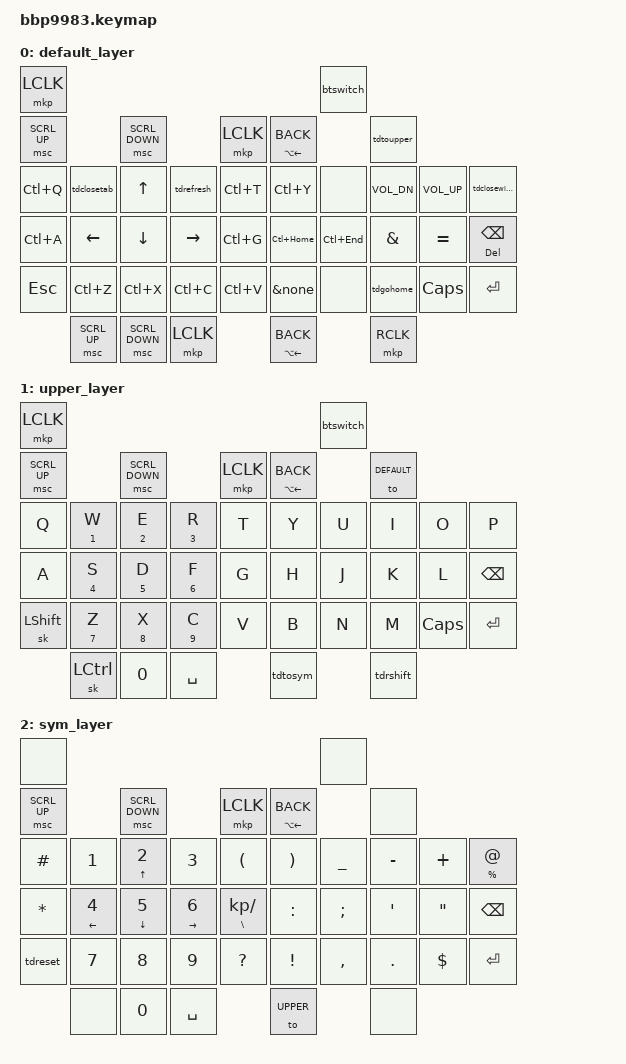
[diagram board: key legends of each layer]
  /*
 * Copyright (c) 2023 ZitaoTech
 *
 * SPDX-License-Identifier: MIT
 */

#include <behaviors.dtsi>
#include <dt-bindings/zmk/keys.h>
#include <dt-bindings/zmk/bt.h>
#include <dt-bindings/zmk/outputs.h>
#include <dt-bindings/zmk/mouse.h>
#include <dt-bindings/zmk/backlight.h>
#include <dt-bindings/zmk/ext_power.h>


#define DEFAULT 0
#define UPPER 1
#define SYM 2

&sk {
       release-after-ms = <2500>;
   };

/ {
   //单击层1字符，长按层2字符
    behaviors {
        bhm: balanced_homerow_mods {
            compatible = "zmk,behavior-hold-tap";
            #binding-cells = <2>;
            flavor = "balanced";
            tapping-term-ms = <400>;
            bindings = <&kp>, <&kp>;
        };
    };

   //切换蓝牙设备
    behaviors {
        btswitch: tap_dance_btswitch {
            compatible = "zmk,behavior-tap-dance";
            #binding-cells = <0>;
            tapping-term-ms = <400>;
            bindings = <&tobt0>, <&tobt1>;
        };
    };

    macros {
        //切换设备1
        tobt0: zed_em_tobt0 {
            compatible = "zmk,behavior-macro";
            #binding-cells = <0>;
            bindings = <&macro_tap &bt BT_SEL 0>,<&macro_tap &kp ENTER &kp N0 &kp N9 &kp N1 &kp N1 &kp ENTER>,<&macro_tap &to DEFAULT>;
        };

        //切换设备2
        tobt1: zed_em_tobt1 {
            compatible = "zmk,behavior-macro";
            #binding-cells = <0>;
            bindings = <&macro_tap &bt BT_SEL 1>,<&macro_tap &to DEFAULT>;
        }; 
  };

   //单击PC切换输入法，双击RShift
    behaviors {
        tdrshift: tap_dance_rshift {
            compatible = "zmk,behavior-tap-dance";
            #binding-cells = <0>;
            tapping-term-ms = <400>;
            bindings =<&kp LG(SPACE)>, <&kp RSHFT>;
        };
    };

   //双击关闭程序
    behaviors {
        tdclosewindow: tap_dance_closewindow {
            compatible = "zmk,behavior-tap-dance";
            #binding-cells = <0>;
            tapping-term-ms = <400>;
            bindings =<&none>, <&kp LA(F4)>;
        };
    };

   //双击回到桌面
    behaviors {
        tdgohome: tap_dance_gohome {
            compatible = "zmk,behavior-tap-dance";
            #binding-cells = <0>;
            tapping-term-ms = <400>;
            bindings =<&kp LG(D)>, <&kp LA(ESC)>;
        };
    };

   //双击关闭浏览器标签页
    behaviors {
        tdclosetab: tap_dance_closetab { 
            compatible = "zmk,behavior-tap-dance";
            #binding-cells = <0>;
            tapping-term-ms = <400>;
            bindings =<&kp W>, <&kp LC(W)>;
        };
    };

   //双击浏览器刷新    
    behaviors {
        tdrefresh: tap_dance_refresh { 
            compatible = "zmk,behavior-tap-dance";
            #binding-cells = <0>;
            tapping-term-ms = <400>;
            bindings =<&none>, <&kp LC(R)>;
        };
    };

   //快速双击软重启
    behaviors {
        tdreset: tap_dance_reset {
            compatible = "zmk,behavior-tap-dance";
            #binding-cells = <0>;
            tapping-term-ms = <300>;
            bindings = <&none>, <&sys_reset>;
        };
    };

    //单击临时sym层，双击进入sym层
    behaviors {
        tdtosym: tap_dance_tosym {
            compatible = "zmk,behavior-tap-dance";
            #binding-cells = <0>;
            tapping-term-ms = <400>;
            bindings = <&sl SYM>, <&to SYM>;
        };
    };

    behaviors {
        tdtoupper: tap_dance_toupper {
            compatible = "zmk,behavior-tap-dance";
            #binding-cells = <0>;
            tapping-term-ms = <400>;
            bindings = <&sl UPPER>, <&to UPPER>;
        };
    };

    behaviors {
        htshiftapp: hold_tap_shiftapp {
            compatible = "zmk,behavior-hold-tap";
            #binding-cells = <2>;
            flavor = "balanced";
            tapping-term-ms = <250>;
            bindings = <&mkp>, <&kp>;
        };
    };

    keymap {
        compatible = "zmk,keymap";

        default_layer {

            bindings = <
// -----------------------------------------------------------------------------------------------------------------------------------------------         
//         |    Shoulder Key1    |                                                                             |    Shoulder Key2    |     
// |         Call key      |      Blackberry Key        |    Trackpad    |             Back Key                |             Endcall Key          |
// |     Q      |     W    |     E    |     R    |      T      |       Y        |       U        |        I        |       O      |      P        |     
// |     A      |     S    |     D    |     F    |      G      |       H        |       J        |        K        |       L      |      ←        |  
// |     alt    |     Z    |     X    |     C    |      V      |       B        |       N        |        M        |       $      |    Enter      |   
//        |         aA     |         0           |           SPACE              |         SYM         |        aA          |       
// -----------------------------------------------------------------------------------------------------------------------------------------------

        &mkp LCLK                                                                                                 &btswitch
        &msc SCRL_UP                   &msc SCRL_DOWN             &mkp LCLK              &mt LA(LEFT) K_BACK                            &tdtoupper
    &kp LC(Q)          &tdclosetab      &kp UP          &tdrefresh        &kp LC(T)      &kp LC(Y)              &none              &kp C_VOL_DN        &kp C_VOL_UP      &tdclosewindow
    &kp LC(A)          &kp LEFT         &kp DOWN        &kp RIGHT         &kp LC(G)      &kp LC(HOME)           &kp LC(END)        &kp AMPS            &kp EQUAL         &bhm DEL BSPC
    &kp ESC            &kp LC(Z)        &kp LC(X)       &kp LC(C)         &kp LC(V)      &&none                 &none              &tdgohome           &kp CLCK        &kp ENTER
                  &msc SCRL_UP     &msc SCRL_DOWN            &mkp LCLK                       &mt LA(LEFT) K_BACK             &mkp RCLK
            >;
        };

        upper_layer {

            bindings = <
                 &mkp LCLK                                                                                              &btswitch
        &msc SCRL_UP                   &msc SCRL_DOWN             &mkp LCLK              &mt LA(LEFT) K_BACK                            &to DEFAULT
    &kp Q          &bhm N1 W    &bhm N2 E    &bhm N3 R    &kp T      &kp Y      &kp U       &kp I      &kp O        &kp P
    &kp A          &bhm N4 S    &bhm N5 D    &bhm N6 F    &kp G      &kp H      &kp J       &kp K      &kp L        &kp BSPC
    &sk LSHFT      &bhm N7 Z    &bhm N8 X    &bhm N9 C    &kp V      &kp B      &kp N       &kp M      &kp CLCK     &kp ENTER
                 &sk LCTRL        &kp N0                   &kp SPACE                     &tdtosym             &tdrshift
            >;
        };

        sym_layer {

            bindings = <        
        &none                                                                                                    &none
        &msc SCRL_UP                   &msc SCRL_DOWN             &mkp LCLK              &mt LA(LEFT) K_BACK                            &none
    &kp HASH       &kp N1           &bhm UP N2        &kp N3           &kp LPAR               &kp RPAR           &kp UNDER     &kp MINUS      &kp PLUS       &bhm PRCNT AT
    &kp STAR       &bhm LEFT N4     &bhm DOWN N5      &bhm RIGHT N6    &bhm BSLH KP_DIVIDE    &kp COLON          &kp SEMI      &kp APOS       &kp DQT        &kp BSPC
    &tdreset       &kp N7           &kp N8            &kp N9           &kp QMARK              &kp EXCL           &kp COMMA     &kp DOT        &kp DLLR       &kp ENTER
           &none          &kp N0                    &kp SPACE                     &to UPPER               &none
            >;
        };

    };
}; 
